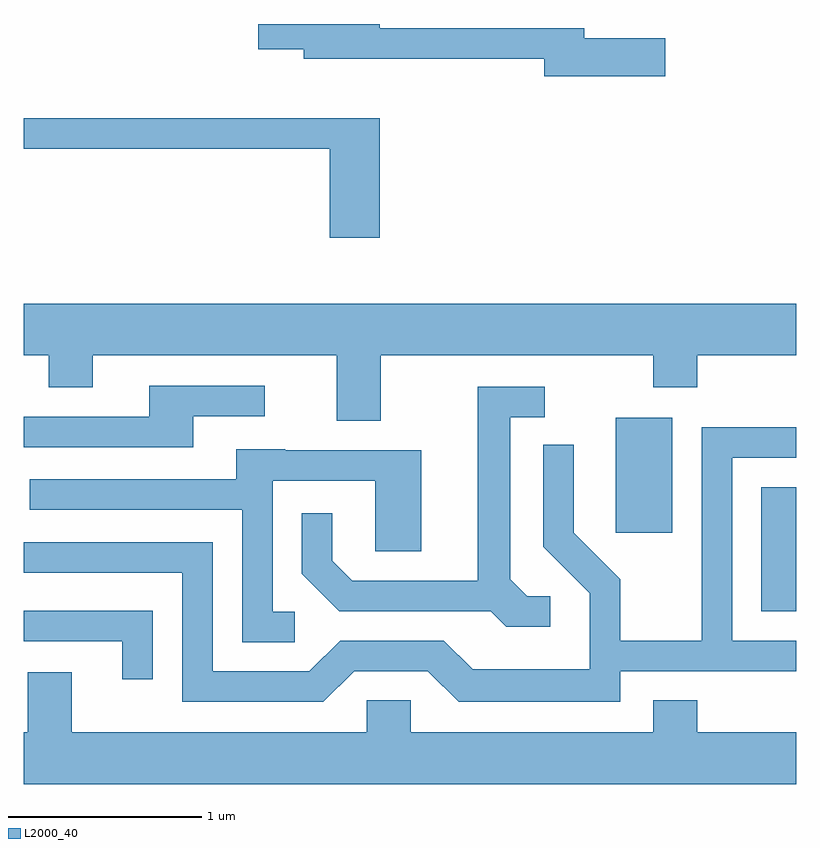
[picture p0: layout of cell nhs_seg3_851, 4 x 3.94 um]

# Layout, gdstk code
import gdstk
lib = gdstk.Library(unit=1e-6, precision=1e-09)
def R(c, l, rs):  # rectangles x0, y0, x1, y1
    for r in rs: c.add(gdstk.rectangle(r[:2], r[2:], *l))
def P(c, l, *ps):  # polygons
    for p in ps: c.add(gdstk.Polygon(p, *l))
L2000_40 = (2000, 40)

nhs_seg3_851 = lib.new_cell('nhs_seg3_851')
R(nhs_seg3_851, L2000_40, [(213.431,1186.851,213.611,1187.494), (212.676,1187.256,212.969,1187.854)])
P(nhs_seg3_851, L2000_40, [(212.934,1189.819),(212.514,1189.819),(212.514,1189.869),(211.454,1189.869),(211.454,1189.892),(210.826,1189.892),(210.826,1189.761),(211.061,1189.761),(211.061,1189.711),(212.306,1189.711),(212.306,1189.621),(212.934,1189.621)],
  [(211.454,1189.404),(209.611,1189.404),(209.611,1189.246),(211.196,1189.246),(211.196,1188.786),(211.454,1188.786)],
  [(211.459,1188.176),(212.871,1188.176),(212.871,1188.011),(213.099,1188.011),(213.099,1188.176),(213.611,1188.176),(213.611,1188.444),(209.611,1188.444),(209.611,1188.176),(209.741,1188.176),(209.741,1188.011),(209.969,1188.011),(209.969,1188.176),(211.231,1188.176),(211.231,1187.836),(211.459,1187.836)],
  [(210.489,1187.861),(210.858,1187.861),(210.858,1188.019),(210.261,1188.019),(210.261,1187.859),(209.611,1187.859),(209.611,1187.701),(210.489,1187.701)],
  [(212.338,1186.929),(212.217,1186.929),(212.129,1187.017),(212.129,1187.856),(212.308,1187.856),(212.308,1188.014),(211.961,1188.014),(211.961,1187.009),(211.312,1187.009),(211.209,1187.112),(211.209,1187.358),(211.051,1187.358),(211.051,1187.044),(211.244,1186.851),(212.029,1186.851),(212.109,1186.771),(212.338,1186.771)],
  [(211.322,1186.541),(211.704,1186.541),(211.864,1186.381),(212.699,1186.381),(212.699,1186.541),(213.611,1186.541),(213.611,1186.699),(213.279,1186.699),(213.279,1187.646),(213.611,1187.646),(213.611,1187.804),(213.121,1187.804),(213.121,1186.699),(212.699,1186.699),(212.699,1187.017),(212.459,1187.257),(212.459,1187.713),(212.301,1187.713),(212.301,1187.184),(212.541,1186.944),(212.541,1186.549),(211.937,1186.549),(211.787,1186.699),(211.249,1186.699),(211.089,1186.539),(210.589,1186.539),(210.589,1187.209),(209.611,1187.209),(209.611,1187.051),(210.431,1187.051),(210.431,1186.381),(211.162,1186.381)],
  [(211.013,1186.849),(210.899,1186.849),(210.899,1187.526),(211.431,1187.526),(211.431,1187.161),(211.669,1187.161),(211.669,1187.684),(210.965,1187.684),(210.965,1187.689),(210.711,1187.689),(210.711,1187.534),(209.643,1187.534),(209.643,1187.376),(210.741,1187.376),(210.741,1186.691),(211.013,1186.691)],
  [(210.279,1186.854),(209.611,1186.854),(209.611,1186.696),(210.121,1186.696),(210.121,1186.498),(210.279,1186.498)],
  [(213.611,1186.224),(213.099,1186.224),(213.099,1186.389),(212.871,1186.389),(212.871,1186.224),(211.614,1186.224),(211.614,1186.389),(211.386,1186.389),(211.386,1186.224),(209.859,1186.224),(209.859,1186.534),(209.631,1186.534),(209.631,1186.224),(209.611,1186.224),(209.611,1185.956),(213.611,1185.956)])

lib.write_gds('nhs_seg3_851.gds')
